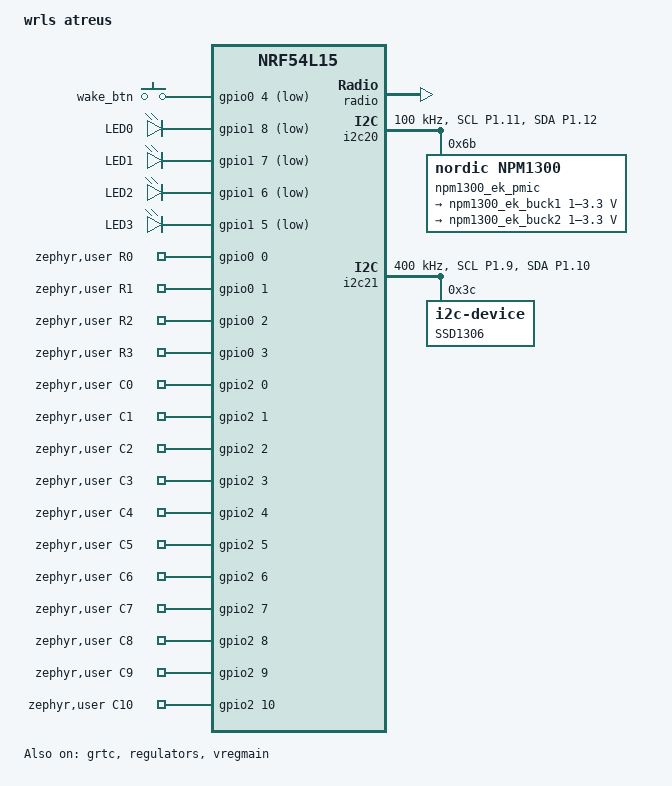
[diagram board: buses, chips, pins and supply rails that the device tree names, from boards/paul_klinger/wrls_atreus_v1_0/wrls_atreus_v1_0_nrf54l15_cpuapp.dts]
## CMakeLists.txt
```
# SPDX-License-Identifier: Apache-2.0

cmake_minimum_required(VERSION 3.20.0)
find_package(Zephyr REQUIRED HINTS $ENV{ZEPHYR_BASE})
project(kbd_firmware)

FILE(GLOB app_sources src/*.c src/*/*.c)
target_sources(app PRIVATE
  ${app_sources}
  )
```

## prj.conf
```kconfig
# Increased stack due to settings API usage
CONFIG_SYSTEM_WORKQUEUE_STACK_SIZE=2048

CONFIG_BT=y
CONFIG_NRF_SECURITY=y
CONFIG_LOG=n

# enable these for uart debugging
CONFIG_SERIAL=n
CONFIG_CONSOLE=n
CONFIG_UART_CONSOLE=n
CONFIG_PRINTK=n
# -----------------

CONFIG_GPIO=y
CONFIG_USE_SEGGER_RTT=n
CONFIG_RTT_CONSOLE=n
CONFIG_BT_SMP=y
CONFIG_BT_PERIPHERAL=y
CONFIG_BT_MAX_PAIRED=4
CONFIG_BT_ATT_TX_COUNT=5
CONFIG_BT_DIS=y
CONFIG_BT_BAS=y
CONFIG_BT_HIDS=y
CONFIG_BT_HIDS_MAX_CLIENT_COUNT=1
CONFIG_BT_HIDS_DEFAULT_PERM_RW_ENCRYPT=y
CONFIG_BT_GATT_UUID16_POOL_SIZE=40
CONFIG_BT_GATT_CHRC_POOL_SIZE=20

CONFIG_BT_CONN_CTX=y
CONFIG_BT_KEYS_OVERWRITE_OLDEST=y
CONFIG_BT_SMP_ALLOW_UNAUTH_OVERWRITE=y

CONFIG_BT_GATT_AUTO_SEC_REQ=n
CONFIG_BT_AUTO_PHY_UPDATE=n

CONFIG_BT_DEVICE_NAME="wrls atreus"
CONFIG_BT_DEVICE_APPEARANCE=961

CONFIG_SENSOR=y
CONFIG_NPM1300_CHARGER=y
CONFIG_LED=y
CONFIG_LED_NPM1300=y
CONFIG_REGULATOR=y
CONFIG_REGULATOR_NPM1300=y
CONFIG_GPIO_NPM1300=y

CONFIG_BT_SETTINGS=y
CONFIG_FLASH=y
CONFIG_FLASH_MAP=y
CONFIG_NVS=y
CONFIG_SETTINGS=y
CONFIG_SETTINGS_NVS=y
CONFIG_I2C=y

CONFIG_CBPRINTF_FP_SUPPORT=y
CONFIG_BT_PHY_UPDATE=y

CONFIG_BT_DIS_MANUF_NAME=n
CONFIG_BT_DIS_PNP=y
CONFIG_BT_DIS_PNP_VID_SRC=2
CONFIG_BT_DIS_PNP_VID=0x05AC
CONFIG_BT_DIS_PNP_PID=0x021E
CONFIG_BT_DIS_PNP_VER=0x0100

CONFIG_NRF_FUEL_GAUGE=y
CONFIG_NRF_FUEL_GAUGE_VARIANT_SECONDARY_CELL=y
```

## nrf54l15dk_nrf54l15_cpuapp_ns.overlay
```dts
// To get started, press Ctrl+Space to bring up the completion menu and view the available nodes.

// You can also use the buttons in the sidebar to perform actions on nodes.
// Actions currently available include:

// * Enabling / disabling the node
// * Adding the bus to a bus
// * Removing the node
// * Connecting ADC channels

// For more help, browse the DeviceTree documentation at https://docs.zephyrproject.org/latest/guides/dts/index.html
// You can also visit the nRF DeviceTree extension documentation at https://docs.nordicsemi.com/bundle/nrf-connect-vscode/page/guides/ncs_configure_app.html#devicetree-support-in-the-extension

&i2c21 {
    display: display@3C{
        compatible = "i2c-device";
        reg = <0x3C>;
        label = "SSD1306";
    };

    status = "okay";
    clock-frequency = <I2C_BITRATE_STANDARD>;
    pinctrl-0 = <&i2c21_default>;
    pinctrl-names = "default";
    zephyr,concat-buf-size = <0x2048>;
    zephyr,flash-buf-max-size = <0x2048>;
    compatible = "nordic,nrf-twim";
};
&pinctrl {
    i2c21_default: i2c21_default {

        group2 {
            psels = <NRF_PSEL(TWIM_SCL, 1, 7)>, <NRF_PSEL(TWIM_SDA, 1, 9)>;
            bias-pull-up;
        };
    };
};
```

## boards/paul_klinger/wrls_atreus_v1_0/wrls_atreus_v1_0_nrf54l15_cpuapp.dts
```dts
/dts-v1/;
#include <nordic/nrf54l15_cpuapp.dtsi>
#include "wrls_atreus_v1_0-pinctrl.dtsi"

#include <dt-bindings/regulator/npm1300.h>
#include <zephyr/dt-bindings/input/input-event-codes.h>


/ {
	model = "wrls atreus";
	compatible = "paul_klinger,wrls-atreus-v1-0-cpuapp";

	chosen {
		zephyr,code-partition = &slot0_partition;
		zephyr,sram = &cpuapp_sram;
		zephyr,flash = &cpuapp_rram;
		zephyr,console = &uart22;
	};

	buttons {
		compatible = "gpio-keys";
		wakebtn: wake_btn {
			gpios = <&gpio0 4 (GPIO_ACTIVE_LOW | GPIO_PULL_UP)>;
			label = "wake_btn";
		};
	};

	leds {
		compatible = "gpio-leds";
		led0: led0 {
			gpios = <&gpio1 8 GPIO_ACTIVE_LOW>;
			label = "LED0";
		};

		led1: led1 {
			gpios = <&gpio1 7 GPIO_ACTIVE_LOW>;
			label = "LED1";
		};

		led2: led2 {
			gpios = <&gpio1 6 GPIO_ACTIVE_LOW>;
			label = "LED2";
		};

		led3: led3 {
			gpios = <&gpio1 5 GPIO_ACTIVE_LOW>;
			label = "LED3";
		};
	};

	zephyr,user {
		R0-gpios = <&gpio0 0 0>;
		R1-gpios = <&gpio0 1 0>;
		R2-gpios = <&gpio0 2 0>;
		R3-gpios = <&gpio0 3 0>;
		C0-gpios = <&gpio2 0 0>;
		C1-gpios = <&gpio2 1 0>;
		C2-gpios = <&gpio2 2 0>;
		C3-gpios = <&gpio2 3 0>;
		C4-gpios = <&gpio2 4 0>;
		C5-gpios = <&gpio2 5 0>;
		C6-gpios = <&gpio2 6 0>;
		C7-gpios = <&gpio2 7 0>;
		C8-gpios = <&gpio2 8 0>;
		C9-gpios = <&gpio2 9 0>;
		C10-gpios = <&gpio2 10 0>;
	};
};

&cpuapp_sram {
	status = "okay";
};

&grtc {
	owned-channels = <0 1 2 3 4 5 6 7 8 9 10 11>;
	/* Channels 7-11 reserved for Zero Latency IRQs, 3-4 for FLPR */
	child-owned-channels = <3 4 7 8 9 10 11>;
	status = "okay";
};

&cpuapp_rram {
	partitions {
		compatible = "fixed-partitions";
		#address-cells = <1>;
		#size-cells = <1>;
		boot_partition: partition@0 {
			label = "mcuboot";
			reg = <0x0 DT_SIZE_K(64)>;
		};
		slot0_partition: partition@10000 {
			label = "image-0";
			reg = <0x10000 DT_SIZE_K(324)>;
		};
		slot0_ns_partition: partition@61000 {
			label = "image-0-nonsecure";
			reg = <0x61000 DT_SIZE_K(324)>;
		};
		slot1_partition: partition@b2000 {
			label = "image-1";
			reg = <0xb2000 DT_SIZE_K(324)>;
		};
		slot1_ns_partition: partition@103000 {
			label = "image-1-nonsecure";
			reg = <0x103000 DT_SIZE_K(324)>;
		};
		/* 32k from 0x154000 to 0x15bfff reserved for TF-M partitions */
		storage_partition: partition@15c000 {
			label = "storage";
			reg = <0x15c000 DT_SIZE_K(36)>;
		};
	};
};

&regulators {
	status = "okay";
};

&vregmain {
	status = "okay";
	regulator-initial-mode = <NRF5X_REG_MODE_DCDC>;
};

&radio {
	status = "okay";
};

&gpio1 {
	status = "okay";
};

&gpio2 {
	status = "okay";
};

&i2c20 {
	status = "okay";
	pinctrl-0 = <&i2c20_default>;
	pinctrl-names = "default";
	clock-frequency = <I2C_BITRATE_STANDARD>;
	npm1300_ek_pmic: pmic@6b {
		compatible = "nordic,npm1300";
		reg = <0x6b>;


		ship-to-active-time-ms = <32>;


		// long-press-reset = "one_button";


		npm1300_ek_gpio: gpio-controller {
			compatible = "nordic,npm1300-gpio";
			gpio-controller;
			#gpio-cells = <2>;
			ngpios = <5>;
		};

		npm1300_ek_regulators: regulators {
			compatible = "nordic,npm1300-regulator";


			npm1300_ek_buck1: BUCK1 {
				regulator-min-microvolt = <1000000>;
				regulator-max-microvolt = <3300000>;

				retention-microvolt = <1000000>;
			};



			npm1300_ek_buck2: BUCK2 {
				regulator-min-microvolt = <1000000>;
				regulator-max-microvolt = <3300000>;
				regulator-init-microvolt = <3300000>;
				retention-microvolt = <1000000>;
			};



			npm1300_ek_ldo1: LDO1 {
				regulator-initial-mode = <NPM1300_LDSW_MODE_LDSW>;

			};

		};


		npm1300_ek_charger: charger {
			compatible = "nordic,npm1300-charger";
			term-microvolt = <4200000>;
			term-warm-microvolt = <4200000>;
			// term-current-percent = <10>;
			current-microamp = <250000>;
			// trickle-microvolt = <2500000>;
			dischg-limit-microamp = <200000>;
			vbus-limit-microamp = <500000>;
			thermistor-ohms = <0>;
			thermistor-beta = <3380>;

			// disable-recharge;
			charging-enable;

		};


		npm1300_ek_leds: leds {
			compatible = "nordic,npm1300-led";
			nordic,led0-mode = "charging";
			nordic,led1-mode = "host";
			nordic,led2-mode = "host";
			status = "okay";
		};

	};
};

&pinctrl {
	i2c20_default: i2c20_default {

		group2 {
			psels = <NRF_PSEL(TWIM_SCL, 1, 11)>, <NRF_PSEL(TWIM_SDA, 1, 12)>;
			bias-pull-up;
		};
	};

	i2c21_default: i2c21_default {

		group2 {
			psels = <NRF_PSEL(TWIM_SCL, 1, 9)>, <NRF_PSEL(TWIM_SDA, 1, 10)>;
			bias-pull-up;
		};
	};

	uart22_default: uart22_default {
		group1 {
			psels = <NRF_PSEL(UART_RX, 1, 3)>, <NRF_PSEL(UART_TX, 1, 4)>;
		};
	};
};

&cpuflpr_vpr {
	status = "disabled";
};

&vregmain {
	status = "okay";
};

&clock {
	status = "okay";
};

&adc {
	status = "disabled";
};

&gpio0 {
	status = "okay";
};

&i2c21 {
	display: display@3C {
		compatible = "i2c-device";
		reg = <0x3C>;
		label = "SSD1306";
	};

	status = "okay";
	clock-frequency = <I2C_BITRATE_FAST>;
	pinctrl-0 = <&i2c21_default>;
	pinctrl-names = "default";
	zephyr,concat-buf-size = <0x2048>;
	zephyr,flash-buf-max-size = <0x2048>;
	compatible = "nordic,nrf-twim";
};
&gpiote30 {
	status = "okay";
};

&gpiote20 {
	status = "okay";
};

&uart22 {
	compatible = "nordic,nrf-uarte";
	status = "disabled";
	current-speed = <115200>;
	pinctrl-0 = <&uart22_default>;
	pinctrl-names = "default";
};
```

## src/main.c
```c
#include <errno.h>
#include <stddef.h>
#include <stdio.h>
#include <string.h>
#include <zephyr/bluetooth/bluetooth.h>
#include <zephyr/bluetooth/conn.h>
#include <zephyr/bluetooth/gatt.h>
#include <zephyr/bluetooth/hci.h>
#include <zephyr/bluetooth/uuid.h>
#include <zephyr/drivers/gpio.h>
#include <zephyr/drivers/i2c.h>
#include <zephyr/drivers/regulator.h>
#include <zephyr/drivers/sensor/npm1300_charger.h>
#include <zephyr/drivers/uart.h>
#include <zephyr/kernel.h>
#include <zephyr/settings/settings.h>
#include <zephyr/sys/byteorder.h>
#include <zephyr/sys/printk.h>
#include <zephyr/types.h>

#include "bluetooth.h"
#include "config.h"
#include "fuel_gauge/fuel_gauge.h"
#include "key_layout.h"
#include "key_matrix.h"
#include "leds.h"
#include "nvs.h"
#include "pmic.h"
#include "ui.h"

void i2c_scanner(const struct device *bus) {
  uint8_t error = 0u;
  uint8_t dst;
  uint8_t i2c_dev_cnt = 0;
  struct i2c_msg msgs[1];
  msgs[0].buf = &dst;
  msgs[0].len = 1U;
  msgs[0].flags = I2C_MSG_WRITE | I2C_MSG_STOP;

  /* Use the full range of I2C address for display purpose */
  for (uint16_t x = 0; x <= 0x7f; x++) {
    /* New line every 0x10 address */
    if (x % 0x10 == 0) {
      printk("|\n0x%02x| ", x);
    }
    /* Range the test with the start and stop value configured in the
     * kconfig */
    if (x >= 0 && x <= 0x7f) {
      /* Send the address to read from */
      error = i2c_transfer(bus, &msgs[0], 1, x);
      /* I2C device found on current address */
      if (error == 0) {
        printk("0x%02x ", x);
        i2c_dev_cnt++;
      } else {
        printk(" --  ");
      }
    } else {
      /* Scan value out of range, not scanned */
      printk("     ");
    }
  }
  printk("|\n");
  printk("\nI2C device(s) found on the bus: %d\nScanning done.\n\n",
         i2c_dev_cnt);
  printk(
      "Find the registered I2C address on: "
      "https://i2cdevices.org/addresses\n\n");
}

int main(void) {
  int ret;
  printk("Starting wrls atreus\n");
  k_msleep(50);
  init_leds();

  init_ui();
  ui_send_startup();

  nvs_init();

  int err;
  err = init_bluetooth();
  if (err) {
    printk("Bluetooth init failed (err %d)\n", err);
    return 0;
  }
  init_pmic();

  init_fuel_gauge();

  printk("Init key matrix\n");
  init_key_matrix();
  uint32_t last_active_time = k_uptime_seconds();
  uint32_t last_no_pressed_time = last_active_time;

  uint32_t last_bas_sent = k_uptime_seconds();
  send_bas_soc(battery_state.soc);

  while (1) {
    uint32_t seconds_since_active = k_uptime_seconds() - last_active_time;
    uint32_t seconds_since_no_pressed =
        k_uptime_seconds() - last_no_pressed_time;
    if ((seconds_since_active > DEEP_SLEEP_TIMEOUT_S) ||
        ((seconds_since_active > DEEP_SLEEP_ADVERTISING_TIMEOUT_S) &&
         ble_is_advertising()) ||
        (seconds_since_no_pressed > DEEP_SLEEP_NO_PRESSED_TIMEOUT_S)) {
      printk("No activity for %ds, going to deep sleep\n",
             seconds_since_active);
      ui_send_wake_and_key((struct key_coord){1, 6});  // S
    }

    read_key_matrix();

    if (!eq_pressed_keys(last_pressed_keys, current_pressed_keys)) {
      last_active_time = k_uptime_seconds();

      if (current_pressed_keys.wake_pressed) {
        if (current_pressed_keys.n_pressed > 0) {
          ui_send_wake_and_key(current_pressed_keys.keys[0]);
        } else if (!last_pressed_keys.wake_pressed) {
          ui_send_wake();
        }
      } else {
        // applications take exclusive control of the keys
        // so only send them to the host if they are not running
        if (application_running) {
          // send empty to clear any previous keys
          send_encoded_keys((struct encoded_keys){0});  // send empty keys
        } else {
          struct encoded_keys encoded_keys = get_encoded_keys();
          send_encoded_keys(encoded_keys);
        }
      }
      if (ui_active() && current_pressed_keys.n_pressed > 0) {
        // TODO: doesn't really make sense, maybe just get rid of the key
        // message?
        ui_send_key(current_pressed_keys.keys[0]);
      }
    }

    if (current_pressed_keys.n_pressed == 0 &&
        !current_pressed_keys.wake_pressed) {
      last_no_pressed_time = k_uptime_seconds();
    }

    if (k_uptime_seconds() - last_bas_sent > BAS_SOC_INTERVAL_S) {
      last_bas_sent = k_uptime_seconds();
      send_bas_soc(battery_state.soc);
      printk("Sent battery SOC %d", (uint8_t)battery_state.soc);
    }

    if (current_pressed_keys.n_pressed > 0 ||
        current_pressed_keys.wake_pressed) {
      // if keys are pressed always sleep for 50ms
      // (we can't use the level interrupt here)
      // TODO: could switch to edge interrupt in this case??
      k_msleep(50);
    } else {
      ret = wait_for_key(2000);
    }
  }

  return 0;
}
```

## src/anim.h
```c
#ifndef ANIM_H
#define ANIM_H

#include <stdint.h>
#include <stdbool.h>

struct animation {
    const uint8_t (*frames)[8][128] ; // Pointer to an array of frames, each frame is 8x128 pixels
    const uint8_t *frame_counts;
    uint32_t start_idx, end_idx, init_idx;
    int8_t frame_step;
    bool loop;
};

#endif // ANIM_H
```

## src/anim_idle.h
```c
#ifndef IDLE_H
#define IDLE_H
#include "anim.h"

#define IDLE_N_FRAMES 38
extern struct animation anim_idle;

#endif // IDLE_H
```

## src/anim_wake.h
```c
#ifndef WAKE_H
#define WAKE_H
#include "anim.h"

#define WAKE_N_FRAMES 26
extern struct animation anim_wake;

#endif // WAKE_H
```

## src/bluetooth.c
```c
#include "bluetooth.h"

#include <assert.h>
#include <bluetooth/services/hids.h>
#include <errno.h>
#include <soc.h>
#include <stddef.h>
#include <string.h>
#include <zephyr/bluetooth/bluetooth.h>
#include <zephyr/bluetooth/conn.h>
#include <zephyr/bluetooth/gatt.h>
#include <zephyr/bluetooth/hci.h>
#include <zephyr/bluetooth/services/bas.h>
#include <zephyr/bluetooth/services/dis.h>
#include <zephyr/bluetooth/uuid.h>
#include <zephyr/drivers/gpio.h>
#include <zephyr/kernel.h>
#include <zephyr/settings/settings.h>
#include <zephyr/spinlock.h>
#include <zephyr/sys/byteorder.h>
#include <zephyr/sys/printk.h>
#include <zephyr/types.h>

#include "config.h"
#include "key_layout.h"
#include "leds.h"
#include "ui.h"

#define DEVICE_NAME CONFIG_BT_DEVICE_NAME
#define DEVICE_NAME_LEN (sizeof(DEVICE_NAME) - 1)

#define BASE_USB_HID_SPEC_VERSION 0x0101

#define OUTPUT_REPORT_MAX_LEN 1
#define OUTPUT_REPORT_BIT_MASK_CAPS_LOCK 0x02
#define INPUT_REP_KEYS_REF_ID 0
#define OUTPUT_REP_KEYS_REF_ID 0
#define MODIFIER_KEY_POS 0
#define SHIFT_KEY_CODE 0x02
#define SCAN_CODE_POS 2
#define KEYS_MAX_LEN (INPUT_REPORT_KEYS_MAX_LEN - SCAN_CODE_POS)

/* HIDs queue elements. */
#define HIDS_QUEUE_SIZE 10

/* ********************* */
/* Buttons configuration */

/* Note: The configuration below is the same as BOOT mode configuration
 * This simplifies the code as the BOOT mode is the same as REPORT mode.
 * Changing this configuration would require separate implementation of
 * BOOT mode report generation.
 */
#define KEY_CTRL_CODE_MIN 224 /* Control key codes - required 8 of them */
#define KEY_CTRL_CODE_MAX 231 /* Control key codes - required 8 of them */
#define KEY_CODE_MIN 0        /* Normal key codes */
#define KEY_CODE_MAX 101      /* Normal key codes */
#define KEY_PRESS_MAX                     \
  6 /* Maximum number of non-control keys \
     * pressed simultaneously             \
     */

/* Number of bytes in key report
 *
 * 1B - control keys
 * 1B - reserved
 * rest - non-control keys
 */
#define INPUT_REPORT_KEYS_MAX_LEN (1 + 1 + KEY_PRESS_MAX)

/* Current report map construction requires exactly 8 buttons */
BUILD_ASSERT((KEY_CTRL_CODE_MAX - KEY_CTRL_CODE_MIN) + 1 == 8);

/* OUT report internal indexes.
 *
 * This is a position in internal report table and is not related to
 * report ID.
 */
enum { OUTPUT_REP_KEYS_IDX = 0 };

/* INPUT report internal indexes.
 *
 * This is a position in internal report table and is not related to
 * report ID.
 */
enum { INPUT_REP_KEYS_IDX = 0 };

/* HIDS instance. */
BT_HIDS_DEF(hids_obj, OUTPUT_REPORT_MAX_LEN, INPUT_REPORT_KEYS_MAX_LEN);

static volatile bool is_adv;
static volatile bool waiting_for_passkey_confirmation = false;

static const struct bt_data ad[] = {
    BT_DATA_BYTES(BT_DATA_GAP_APPEARANCE,
                  (CONFIG_BT_DEVICE_APPEARANCE >> 0) & 0xff,
                  (CONFIG_BT_DEVICE_APPEARANCE >> 8) & 0xff),
    BT_DATA_BYTES(BT_DATA_FLAGS, (BT_LE_AD_GENERAL | BT_LE_AD_NO_BREDR)),
    BT_DATA_BYTES(BT_DATA_UUID16_ALL, BT_UUID_16_ENCODE(BT_UUID_HIDS_VAL),
                  BT_UUID_16_ENCODE(BT_UUID_BAS_VAL)),
};

static const struct bt_data sd[] = {
    BT_DATA(BT_DATA_NAME_COMPLETE, DEVICE_NAME, DEVICE_NAME_LEN),
};

static struct bt_conn *current_conn = NULL;

static struct k_work adv_work;

struct addr get_current_addr() {
  struct addr addr;
  if (current_conn) {
    bt_addr_le_to_str(bt_conn_get_dst(current_conn), addr.addr,
                      sizeof(addr.addr));
  }
  return addr;
}

static void advertising_start(void) { k_work_submit(&adv_work); }

static void adv_work_handler(struct k_work *work) {
  int err;
  const struct bt_le_adv_param *adv_param =
      BT_LE_ADV_PARAM(BT_LE_ADV_OPT_CONN, BT_GAP_ADV_FAST_INT_MIN_2,
                      BT_GAP_ADV_FAST_INT_MAX_2, NULL);

  err = bt_le_adv_start(adv_param, ad, ARRAY_SIZE(ad), sd, ARRAY_SIZE(sd));
  if (err) {
    if (err == -EALREADY) {
      printk("Advertising continued\n");
    } else {
      printk("Advertising failed to start (err %d)\n", err);
    }

    return;
  }

  is_adv = true;
  led_start_advertising_anim();
  printk("Advertising successfully started\n");
}

static void connected(struct bt_conn *conn, uint8_t err) {
  char addr[BT_ADDR_LE_STR_LEN];

  bt_addr_le_to_str(bt_conn_get_dst(conn), addr, sizeof(addr));

  if (err) {
    printk("Failed to connect to %s 0x%02x %s\n", addr, err,
           bt_hci_err_to_str(err));
    return;
  }
  current_conn = bt_conn_ref(conn);

  printk("Connected %s\n", addr);

  err = bt_hids_connected(&hids_obj, conn);

  if (err) {
    printk("Failed to notify HID service about connection\n");
    return;
  }

  is_adv = false;
  led_stop_anim();
  int ret = bt_conn_set_security(conn, BT_SECURITY_L4);
  if (ret) {
    printk("Failed to set security to L4 (%d), trying L3\n", ret);
    ret = bt_conn_set_security(conn, BT_SECURITY_L3);
    if (ret) {
      printk("Failed to set security to L3: %d\n", ret);
    }
  }

  init_key_layout();
}

static void disconnected(struct bt_conn *conn, uint8_t reason) {
  char addr[BT_ADDR_LE_STR_LEN];

  bt_addr_le_to_str(bt_conn_get_dst(conn), addr, sizeof(addr));

  printk("Disconnected from %s, reason 0x%02x %s\n", addr, reason,
         bt_hci_err_to_str(reason));
  int err = bt_hids_disconnected(&hids_obj, conn);

  if (err) {
    printk("Failed to notify HID service about disconnection\n");
  }
  bt_conn_unref(current_conn);
  current_conn = NULL;
  advertising_start();
}

static void security_changed(struct bt_conn *conn, bt_security_t level,
                             enum bt_security_err err) {
  char addr[BT_ADDR_LE_STR_LEN];

  bt_addr_le_to_str(bt_conn_get_dst(conn), addr, sizeof(addr));

  if (!err) {
    printk("Security changed: %s level %u\n", addr, level);
  } else {
    printk("Security failed: %s level %u err %d %s\n", addr, level, err,
           bt_security_err_to_str(err));
  }
}

BT_CONN_CB_DEFINE(conn_callbacks) = {
    .connected = connected,
    .disconnected = disconnected,
    .security_changed = security_changed,
};

static void auth_passkey_display(struct bt_conn *conn, unsigned int passkey) {
  if (conn != current_conn) {
    if (current_conn) {
      bt_conn_unref(current_conn);
    }
    current_conn = bt_conn_ref(conn);
  }
  ui_send_display_passkey(passkey);
}

static void auth_passkey_confirm(struct bt_conn *conn, unsigned int passkey) {
  if (conn != current_conn) {
    if (current_conn) {
      bt_conn_unref(current_conn);
    }
    current_conn = bt_conn_ref(conn);
  }
  waiting_for_passkey_confirmation = true;
  ui_send_confirm_passkey(passkey);
}

static void auth_cancel(struct bt_conn *conn) {
  char addr[BT_ADDR_LE_STR_LEN];

  bt_addr_le_to_str(bt_conn_get_dst(conn), addr, sizeof(addr));

  printk("Pairing cancelled: %s\n", addr);
  if (current_conn) {
    bt_conn_unref(current_conn);
    current_conn = NULL;
  }
}

static void pairing_complete(struct bt_conn *conn, bool bonded) {
  char addr[BT_ADDR_LE_STR_LEN];

  bt_addr_le_to_str(bt_conn_get_dst(conn), addr, sizeof(addr));

  printk("Pairing completed: %s, bonded: %d\n", addr, bonded);
}

static void pairing_failed(struct bt_conn *conn, enum bt_security_err reason) {
  char addr[BT_ADDR_LE_STR_LEN];

  bt_addr_le_to_str(bt_conn_get_dst(conn), addr, sizeof(addr));

  printk("Pairing failed conn: %s, reason %d %s\n", addr, reason,
         bt_security_err_to_str(reason));
}

static struct bt_conn_auth_cb conn_auth_callbacks = {
    .passkey_display = auth_passkey_display,
    .passkey_confirm = auth_passkey_confirm,
    .cancel = auth_cancel,
};

static struct bt_conn_auth_info_cb conn_auth_info_callbacks = {
    .pairing_complete = pairing_complete, .pairing_failed = pairing_failed};

static void num_comp_reply(bool accept) {
  char addr[BT_ADDR_LE_STR_LEN];

  bt_addr_le_to_str(bt_conn_get_dst(current_conn), addr, sizeof(addr));
  printk("num_comp_reply(%d), conn: %s\n", accept, addr);
  if (accept) {
    bt_conn_auth_passkey_confirm(current_conn);
    printk("Numeric Match, conn %p\n", current_conn);
  } else {
    bt_conn_auth_cancel(current_conn);
    printk("Numeric Reject, conn %p\n", current_conn);
    bt_conn_unref(current_conn);
  }
}

void confirm_passkey(void) {
  num_comp_reply(true);
  waiting_for_passkey_confirmation = false;
}

void reject_passkey(void) {
  num_comp_reply(false);
  waiting_for_passkey_confirmation = false;
}

bool ble_is_advertising() { return is_adv; }

bool ble_is_connected() { return current_conn != NULL; }

bool is_waiting_for_passkey_confirmation() {
  return waiting_for_passkey_confirmation;
}

static void init_hid(void) {
  int err;
  struct bt_hids_init_param hids_init_obj = {0};
  struct bt_hids_inp_rep *hids_inp_rep;
  struct bt_hids_outp_feat_rep *hids_outp_rep;

  static const uint8_t report_map[] = {
      0x05, 0x01, /* Usage Page (Generic Desktop) */
      0x09, 0x06, /* Usage (Keyboard) */
      0xA1, 0x01, /* Collection (Application) */

  /* Keys */
#if INPUT_REP_KEYS_REF_ID
      0x85, INPUT_REP_KEYS_REF_ID,
#endif
      0x05, 0x07, /* Usage Page (Key Codes) */
      0x19, 0xe0, /* Usage Minimum (224) */
      0x29, 0xe7, /* Usage Maximum (231) */
      0x15, 0x00, /* Logical Minimum (0) */
      0x25, 0x01, /* Logical Maximum (1) */
      0x75, 0x01, /* Report Size (1) */
      0x95, 0x08, /* Report Count (8) */
      0x81, 0x02, /* Input (Data, Variable, Absolute) */

      0x95, 0x01, /* Report Count (1) */
      0x75, 0x08, /* Report Size (8) */
      0x81, 0x01, /* Input (Constant) reserved byte(1) */

      0x95, 0x06, /* Report Count (6) */
      0x75, 0x08, /* Report Size (8) */
      0x15, 0x00, /* Logical Minimum (0) */
      0x25, 0x65, /* Logical Maximum (101) */
      0x05, 0x07, /* Usage Page (Key codes) */
      0x19, 0x00, /* Usage Minimum (0) */
      0x29, 0x65, /* Usage Maximum (101) */
      0x81, 0x00, /* Input (Data, Array) Key array(6 bytes) */

  /* LED */
#if OUTPUT_REP_KEYS_REF_ID
      0x85, OUTPUT_REP_KEYS_REF_ID,
#endif
      0x95, 0x05, /* Report Count (5) */
      0x75, 0x01, /* Report Size (1) */
      0x05, 0x08, /* Usage Page (Page# for LEDs) */
      0x19, 0x01, /* Usage Minimum (1) */
      0x29, 0x05, /* Usage Maximum (5) */
      0x91, 0x02, /* Output (Data, Variable, Absolute), */
                  /* Led report */
      0x95, 0x01, /* Report Count (1) */
      0x75, 0x03, /* Report Size (3) */
      0x91, 0x01, /* Output (Data, Variable, Absolute), */
                  /* Led report padding */

      0xC0 /* End Collection (Application) */
  };

  hids_init_obj.rep_map.data = report_map;
  hids_init_obj.rep_map.size = sizeof(report_map);

  hids_init_obj.info.bcd_hid = BASE_USB_HID_SPEC_VERSION;
  hids_init_obj.info.b_country_code = 0x00;
  hids_init_obj.info.flags =
      (BT_HIDS_REMOTE_WAKE | BT_HIDS_NORMALLY_CONNECTABLE);

  hids_inp_rep = &hids_init_obj.inp_rep_group_init.reports[INPUT_REP_KEYS_IDX];
  hids_inp_rep->size = INPUT_REPORT_KEYS_MAX_LEN;
  hids_inp_rep->id = INPUT_REP_KEYS_REF_ID;
  hids_init_obj.inp_rep_group_init.cnt++;

  hids_outp_rep =
      &hids_init_obj.outp_rep_group_init.reports[OUTPUT_REP_KEYS_IDX];
  hids_outp_rep->size = OUTPUT_REPORT_MAX_LEN;
  hids_outp_rep->id = OUTPUT_REP_KEYS_REF_ID;
  hids_init_obj.outp_rep_group_init.cnt++;

  hids_init_obj.is_kb = true;

  err = bt_hids_init(&hids_obj, &hids_init_obj);
  __ASSERT(err == 0, "HIDS initialization failed\n");
}

int init_bluetooth(void) {
  waiting_for_passkey_confirmation = false;
  int err;

  err = bt_conn_auth_cb_register(&conn_auth_callbacks);
  if (err) {
    printk("Failed to register authorization callbacks.\n");
    return err;
  }

  err = bt_conn_auth_info_cb_register(&conn_auth_info_callbacks);
  if (err) {
    printk("Failed to register authorization info callbacks.\n");
    return err;
  }

  init_hid();

  err = bt_enable(NULL);
  if (err) {
    printk("Bluetooth init failed (err %d)\n", err);
    return err;
  }

  printk("Bluetooth initialized\n");

  if (IS_ENABLED(CONFIG_SETTINGS)) {
    settings_load();
  }

  k_work_init(&adv_work, adv_work_handler);
  advertising_start();
  return 0;
}

void send_encoded_keys(struct encoded_keys keys) {
  /* HID Report:
   * Byte 0: modifier mask
   * Byte 1: reserved (must be 0)
   * Byte 2-7: keys (up to 6 keys)
   */
  uint8_t report[8] = {0};

  report[0] = keys.modifier_mask;
  report[1] = 0;  // reserved byte, always 0

  for (int i = 0; i < MAX_N_ENCODED_KEYS; i++) {
    report[i + 2] = keys.keys[i];
  }
  int ret = bt_hids_inp_rep_send(&hids_obj, current_conn, INPUT_REP_KEYS_IDX,
                                 report, sizeof(report), NULL);
  printk("HID report sent, ret: %d\n", ret);
}

void send_bas_soc(float soc) { bt_bas_set_battery_level((uint8_t)soc); }
```

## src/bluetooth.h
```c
#ifndef BLUETOOTH_H
#define BLUETOOTH_H

#include <stdbool.h>
#include <zephyr/bluetooth/bluetooth.h>

#include "config.h"

bool ble_is_advertising();
bool ble_is_connected();

bool is_waiting_for_passkey_confirmation();
void confirm_passkey();
void reject_passkey();

int init_bluetooth();
void send_encoded_keys(struct encoded_keys keys);

struct addr {
  char addr[BT_ADDR_LE_STR_LEN];
};

struct addr get_current_addr();

void send_bas_soc(float soc);

#endif  // BLUETOOTH_H
```

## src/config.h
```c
#ifndef CONFIG_H
#define CONFIG_H

#include <stdbool.h>
#include <stdint.h>

#define MAX_N_ENCODED_KEYS 6
#define MAX_N_PRESSED_KEYS 6
// go to sleep if no key presses for this time
#define DEEP_SLEEP_TIMEOUT_S 60 * 30
// go to sleep if no key presses and keyboard is advertising
#define DEEP_SLEEP_ADVERTISING_TIMEOUT_S 60 * 5
// go to sleep if constant key presses for this time
// (to prevent battery drain if something is lying on the keyboard)
#define DEEP_SLEEP_NO_PRESSED_TIMEOUT_S 60 * 5

// send state of charge once per minute
#define BAS_SOC_INTERVAL_S 60

struct key_coord {
  uint8_t row;
  uint8_t col;
};

inline bool keq(struct key_coord a, struct key_coord b) {
  return a.row == b.row && a.col == b.col;
}

// physical keys pressed
struct pressed_keys {
  bool wake_pressed;
  struct key_coord keys[MAX_N_PRESSED_KEYS];
  uint8_t n_pressed;
};

// keys encoded for USB HID report
struct encoded_keys {
  uint8_t modifier_mask;
  uint8_t keys[MAX_N_ENCODED_KEYS];
};

#endif  // CONFIG_H
```

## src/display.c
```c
#include "display.h"

#include <errno.h>
#include <math.h>
#include <stddef.h>
#include <stdlib.h>
#include <string.h>
#include <zephyr/drivers/gpio.h>
#include <zephyr/drivers/i2c.h>
#include <zephyr/drivers/regulator.h>
#include <zephyr/kernel.h>
#include <zephyr/sys/byteorder.h>
#include <zephyr/sys/printk.h>
#include <zephyr/types.h>

const char FONT[][6] = {
    {0x00, 0x00, 0x00, 0x00, 0x00, 0x00},  // sp
    {0x00, 0x00, 0x00, 0x2f, 0x00, 0x00},  // !
    {0x00, 0x00, 0x07, 0x00, 0x07, 0x00},  // "
    {0x00, 0x14, 0x7f, 0x14, 0x7f, 0x14},  // #
    {0x00, 0x24, 0x2a, 0x7f, 0x2a, 0x12},  // $
    {0x00, 0x62, 0x64, 0x08, 0x13, 0x23},  // %
    {0x00, 0x36, 0x49, 0x55, 0x22, 0x50},  // &
    {0x00, 0x00, 0x05, 0x03, 0x00, 0x00},  // '
    {0x00, 0x00, 0x1c, 0x22, 0x41, 0x00},  // (
    {0x00, 0x00, 0x41, 0x22, 0x1c, 0x00},  // )
    {0x00, 0x14, 0x08, 0x3E, 0x08, 0x14},  // *
    {0x00, 0x08, 0x08, 0x3E, 0x08, 0x08},  // +
    {0x00, 0x00, 0x00, 0xA0, 0x60, 0x00},  // ,
    {0x00, 0x08, 0x08, 0x08, 0x08, 0x08},  // -
    {0x00, 0x00, 0x60, 0x60, 0x00, 0x00},  // .
    {0x00, 0x20, 0x10, 0x08, 0x04, 0x02},  // /
    {0x00, 0x3E, 0x51, 0x49, 0x45, 0x3E},  // 0
    {0x00, 0x00, 0x42, 0x7F, 0x40, 0x00},  // 1
    {0x00, 0x42, 0x61, 0x51, 0x49, 0x46},  // 2
    {0x00, 0x21, 0x41, 0x45, 0x4B, 0x31},  // 3
    {0x00, 0x18, 0x14, 0x12, 0x7F, 0x10},  // 4
    {0x00, 0x27, 0x45, 0x45, 0x45, 0x39},  // 5
    {0x00, 0x3C, 0x4A, 0x49, 0x49, 0x30},  // 6
    {0x00, 0x01, 0x71, 0x09, 0x05, 0x03},  // 7
    {0x00, 0x36, 0x49, 0x49, 0x49, 0x36},  // 8
    {0x00, 0x06, 0x49, 0x49, 0x29, 0x1E},  // 9
    {0x00, 0x00, 0x36, 0x36, 0x00, 0x00},  // :
    {0x00, 0x00, 0x56, 0x36, 0x00, 0x00},  // ;
    {0x00, 0x08, 0x14, 0x22, 0x41, 0x00},  // <
    {0x00, 0x14, 0x14, 0x14, 0x14, 0x14},  // =
    {0x00, 0x00, 0x41, 0x22, 0x14, 0x08},  // >
    {0x00, 0x02, 0x01, 0x51, 0x09, 0x06},  // ?
    {0x00, 0x32, 0x49, 0x59, 0x51, 0x3E},  // @
    {0x00, 0x7C, 0x12, 0x11, 0x12, 0x7C},  // A
    {0x00, 0x7F, 0x49, 0x49, 0x49, 0x36},  // B
    {0x00, 0x3E, 0x41, 0x41, 0x41, 0x22},  // C
    {0x00, 0x7F, 0x41, 0x41, 0x22, 0x1C},  // D
    {0x00, 0x7F, 0x49, 0x49, 0x49, 0x41},  // E
    {0x00, 0x7F, 0x09, 0x09, 0x09, 0x01},  // F
    {0x00, 0x3E, 0x41, 0x49, 0x49, 0x7A},  // G
    {0x00, 0x7F, 0x08, 0x08, 0x08, 0x7F},  // H
    {0x00, 0x00, 0x41, 0x7F, 0x41, 0x00},  // I
    {0x00, 0x20, 0x40, 0x41, 0x3F, 0x01},  // J
    {0x00, 0x7F, 0x08, 0x14, 0x22, 0x41},  // K
    {0x00, 0x7F, 0x40, 0x40, 0x40, 0x40},  // L
    {0x00, 0x7F, 0x02, 0x0C, 0x02, 0x7F},  // M
    {0x00, 0x7F, 0x04, 0x08, 0x10, 0x7F},  // N
    {0x00, 0x3E, 0x41, 0x41, 0x41, 0x3E},  // O
    {0x00, 0x7F, 0x09, 0x09, 0x09, 0x06},  // P
    {0x00, 0x3E, 0x41, 0x51, 0x21, 0x5E},  // Q
    {0x00, 0x7F, 0x09, 0x19, 0x29, 0x46},  // R
    {0x00, 0x46, 0x49, 0x49, 0x49, 0x31},  // S
    {0x00, 0x01, 0x01, 0x7F, 0x01, 0x01},  // T
    {0x00, 0x3F, 0x40, 0x40, 0x40, 0x3F},  // U
    {0x00, 0x1F, 0x20, 0x40, 0x20, 0x1F},  // V
    {0x00, 0x3F, 0x40, 0x38, 0x40, 0x3F},  // W
    {0x00, 0x63, 0x14, 0x08, 0x14, 0x63},  // X
    {0x00, 0x07, 0x08, 0x70, 0x08, 0x07},  // Y
    {0x00, 0x61, 0x51, 0x49, 0x45, 0x43},  // Z
    {0x00, 0x00, 0x7F, 0x41, 0x41, 0x00},  // [
    {0x00, 0x55, 0x2A, 0x55, 0x2A, 0x55},  // backslash
    {0x00, 0x00, 0x41, 0x41, 0x7F, 0x00},  // ]
    {0x00, 0x04, 0x02, 0x01, 0x02, 0x04},  // ^
    {0x00, 0x40, 0x40, 0x40, 0x40, 0x40},  // _
    {0x00, 0x00, 0x01, 0x02, 0x04, 0x00},  // '
    {0x00, 0x20, 0x54, 0x54, 0x54, 0x78},  // a
    {0x00, 0x7F, 0x48, 0x44, 0x44, 0x38},  // b
    {0x00, 0x38, 0x44, 0x44, 0x44, 0x20},  // c
    {0x00, 0x38, 0x44, 0x44, 0x48, 0x7F},  // d
    {0x00, 0x38, 0x54, 0x54, 0x54, 0x18},  // e
    {0x00, 0x08, 0x7E, 0x09, 0x01, 0x02},  // f
    {0x00, 0x18, 0xA4, 0xA4, 0xA4, 0x7C},  // g
    {0x00, 0x7F, 0x08, 0x04, 0x04, 0x78},  // h
    {0x00, 0x00, 0x44, 0x7D, 0x40, 0x00},  // i
    {0x00, 0x40, 0x80, 0x84, 0x7D, 0x00},  // j
    {0x00, 0x7F, 0x10, 0x28, 0x44, 0x00},  // k
    {0x00, 0x00, 0x41, 0x7F, 0x40, 0x00},  // l
    {0x00, 0x7C, 0x04, 0x18, 0x04, 0x78},  // m
    {0x00, 0x7C, 0x08, 0x04, 0x04, 0x78},  // n
    {0x00, 0x38, 0x44, 0x44, 0x44, 0x38},  // o
    {0x00, 0xFC, 0x24, 0x24, 0x24, 0x18},  // p
    {0x00, 0x18, 0x24, 0x24, 0x18, 0xFC},  // q
    {0x00, 0x7C, 0x08, 0x04, 0x04, 0x08},  // r
    {0x00, 0x48, 0x54, 0x54, 0x54, 0x20},  // s
    {0x00, 0x04, 0x3F, 0x44, 0x40, 0x20},  // t
    {0x00, 0x3C, 0x40, 0x40, 0x20, 0x7C},  // u
    {0x00, 0x1C, 0x20, 0x40, 0x20, 0x1C},  // v
    {0x00, 0x3C, 0x40, 0x30, 0x40, 0x3C},  // w
    {0x00, 0x44, 0x28, 0x10, 0x28, 0x44},  // x
    {0x00, 0x1C, 0xA0, 0xA0, 0xA0, 0x7C},  // y
    {0x00, 0x44, 0x64, 0x54, 0x4C, 0x44},  // z
    {0x00, 0x00, 0x08, 0x77, 0x41, 0x00},  // {
    {0x00, 0x00, 0x00, 0x63, 0x00, 0x00},  // ¦
    {0x00, 0x00, 0x41, 0x77, 0x08, 0x00},  // }
    {0x00, 0x08, 0x04, 0x08, 0x08, 0x04},  // ~
};

#define LCD_DISP_OFF 0xAE
#define LCD_DISP_ON 0xAF

const uint8_t init_sequence[] = {
    // Initialization Sequence
    LCD_DISP_OFF,  // Display OFF (sleep mode)
    0x20,
    0b00,  // Set Memory Addressing Mode
    // 00=Horizontal Addressing Mode; 01=Vertical Addressing Mode;
    // 10=Page Addressing Mode (RESET); 11=Invalid
    0xB0,  // Set Page Start Address for Page Addressing Mode, 0-7
    0xC0,  // Set COM Output Scan Direction
    0x00,  // --set low column address
    0x10,  // --set high column address
    0x40,  // --set start line address
    0x81,
    0xFF,  // Set contrast control register
    0xA0,  // Set Segment Re-map. A0=address mapped; A1=address 127 mapped.
    0xA6,  // Set display mode. A6=Normal; A7=Inverse
    0xA8,
    0x3F,  // Set multiplex ratio(1 to 64)
    0xA4,  // Output RAM to Display
    // 0xA4=Output follows RAM content; 0xA5,Output ignores RAM content
    0xD3,
    0x00,        // Set display offset. 00 = no offset
    0xD5,        // --set display clock divide ratio/oscillator frequency
    0b11110000,  // --set divide ratio
    0xD9,
    0x22,  // Set pre-charge period
    0xDA,
    0x12,  // Set com pins hardware configuration
    0xDB,  // --set vcomh
    0x20,  // 0x20,0.77xVcc
    0x8D,
    0x14,  // Set DC-DC enable
    LCD_DISP_ON,
};

#define I2C21_NODE DT_NODELABEL(display)
static const struct i2c_dt_spec dev_i2c = I2C_DT_SPEC_GET(I2C21_NODE);
static const struct device *disp_ldsw =
    DEVICE_DT_GET(DT_NODELABEL(npm1300_ek_ldo1));

static struct {
  uint8_t x;
  uint8_t y;
} cursorPosition;

uint8_t displayBuffer[DISPLAY_HEIGHT / 8][DISPLAY_WIDTH];

void init_i2c(void) {
  while (!device_is_ready(dev_i2c.bus)) {
    printk("I2C bus %s is not ready\n", dev_i2c.bus->name);
    k_sleep(K_MSEC(100));
  };
}

int lcd_command(const uint8_t *cmds, size_t len) {
  struct i2c_msg mode_msg;
  uint8_t is_command = 0x00;
  mode_msg.buf = &is_command;
  mode_msg.len = 1;
  mode_msg.flags = I2C_MSG_WRITE;

  struct i2c_msg data_msg;
  data_msg.buf = (uint8_t *)cmds;
  data_msg.len = len;
  data_msg.flags = I2C_MSG_WRITE | I2C_MSG_STOP;

  struct i2c_msg msgs[] = {mode_msg, data_msg};
  int ret = i2c_transfer(dev_i2c.bus, msgs, 2, dev_i2c.addr);
  if (ret != 0) {
    printk("Error %d: failed to write command to the display\n", ret);
  }
  return ret;
}

int lcd_data(const uint8_t *data, size_t len) {
  struct i2c_msg mode_msg;
  uint8_t is_data = 0x40;
  mode_msg.buf = &is_data;
  mode_msg.len = 1;
  mode_msg.flags = I2C_MSG_WRITE;

  struct i2c_msg data_msg;
  data_msg.buf = (uint8_t *)data;
  data_msg.len = len;
  data_msg.flags = I2C_MSG_WRITE | I2C_MSG_STOP;

  struct i2c_msg msgs[] = {mode_msg, data_msg};
  int ret = i2c_transfer(dev_i2c.bus, msgs, 2, dev_i2c.addr);
  if (ret != 0) {
    printk("Error %d: failed to write data to the display\n", ret);
  }
  return ret;
}

void lcd_goto_xpix_y(uint8_t x, uint8_t y) {
  cursorPosition.x = x;
  cursorPosition.y = y;
}

void lcd_gotoxy(uint8_t x, uint8_t y) {
  x = x * sizeof(FONT[0]);
  lcd_goto_xpix_y(x, y);
}

void lcd_send_goto_xpix_y(uint8_t x, uint8_t y) {
  cursorPosition.x = x;
  cursorPosition.y = y;
  uint8_t commandSequence[] = {0x22, y, 0x07, 0x21, x, 0x7f};
  lcd_command(commandSequence, sizeof(commandSequence));
}

void lcd_send_home_command() { lcd_send_goto_xpix_y(0, 0); }

void lcd_putc(char c) {
  // mapping char
  c -= ' ';
  for (uint8_t i = 0; i < sizeof(FONT[0]); i++) {
    // load bit-pattern from flash
    displayBuffer[cursorPosition.y][cursorPosition.x + i] = FONT[(uint8_t)c][i];
  }
  cursorPosition.x += sizeof(FONT[0]);
}

void lcd_puts(const char *s) {
  while (*s) {
    if (*s == '\n') {
      cursorPosition.x = 0;
      cursorPosition.y++;
      lcd_goto_xpix_y(cursorPosition.x, cursorPosition.y);
    } else {
      lcd_putc(*s);
    }
    s++;
  }
}

void lcd_putc_invert(char c) {
  // mapping char
  c -= ' ';
  for (uint8_t i = 0; i < sizeof(FONT[0]); i++) {
    // load bit-pattern from flash
    displayBuffer[cursorPosition.y][cursorPosition.x + i] =
        ~FONT[(uint8_t)c][i];
  }
  cursorPosition.x += sizeof(FONT[0]);
}

void lcd_puts_invert(const char *s) {
  while (*s) {
    if (*s == '\n') {
      cursorPosition.x = 0;
      cursorPosition.y++;
      lcd_goto_xpix_y(cursorPosition.x, cursorPosition.y);
    } else {
      lcd_putc_invert(*s);
    }
    s++;
  }
}

void lcd_clear_buffer() {
  for (uint8_t i = 0; i < DISPLAY_HEIGHT / 8; i++) {
    memset(displayBuffer[i], 0x00, sizeof(displayBuffer[i]));
  }
}

uint8_t lcd_check_buffer(uint8_t x, uint8_t y) {
  return displayBuffer[(y / (DISPLAY_HEIGHT / 8))][x] &
         (1 << (y % (DISPLAY_HEIGHT / 8)));
}

void lcd_display() {
  lcd_send_home_command();
  lcd_data(&displayBuffer[0][0], DISPLAY_WIDTH * DISPLAY_HEIGHT / 8);
}
void lcd_clrscr(void) {
  lcd_clear_buffer();
  lcd_display();
  lcd_send_home_command();
}

bool display_enabled(void) { return regulator_is_enabled(disp_ldsw); }

void enable_display(void) {
  // Don't enable display if it is already enabled
  // (register keeps the value and would enable it again the next time it's
  // disabled)
  if (!display_enabled()) {
    int ret = regulator_enable(disp_ldsw);
    if (ret != 0) {
      printk("Error %d: failed to enable display LDO\n", ret);
    }
  }
}

void disable_display(void) {
  if (display_enabled()) {
    int ret = regulator_disable(disp_ldsw);
    if (ret != 0) {
      printk("Error %d: failed to disable display LDO\n", ret);
    }
  }
}

void display_init(void) {
  lcd_clear_buffer();
  enable_display();
  k_msleep(50);
  init_i2c();

  int ret = lcd_command(init_sequence, sizeof(init_sequence));
  if (ret != 0) {
    printk("Error %d: failed to write to the display\n", ret);
  }
  k_msleep(50);  // Wait for display to turn on
  lcd_display();
}

void lcd_drawPixel(uint8_t x, uint8_t y, uint8_t color) {
  if (color == WHITE) {
    displayBuffer[(y / (DISPLAY_HEIGHT / 8))][x] |=
        (1 << (y % (DISPLAY_HEIGHT / 8)));
  } else {
    displayBuffer[(y / (DISPLAY_HEIGHT / 8))][x] &=
        ~(1 << (y % (DISPLAY_HEIGHT / 8)));
  }
}

void lcd_display_block(uint8_t x, uint8_t line, uint8_t width) {
  if (line > (DISPLAY_HEIGHT / 8 - 1) || x > DISPLAY_WIDTH - 1) {
    return;
  }
  if (x + width > DISPLAY_WIDTH) {  // no -1 here, x alone is width 1
    width = DISPLAY_WIDTH - x;
  }
  lcd_send_goto_xpix_y(x, line);
  lcd_data(&displayBuffer[line][x], width);
}

void lcd_drawLine(uint8_t x1, uint8_t y1, uint8_t x2, uint8_t y2,
                  uint8_t color) {
  if (x1 > DISPLAY_WIDTH - 1 || x2 > DISPLAY_WIDTH - 1 ||
      y1 > DISPLAY_HEIGHT - 1 || y2 > DISPLAY_HEIGHT - 1)
    return;
  int dx = abs((int)x2 - x1), sx = x1 < x2 ? 1 : -1;
  int dy = -abs((int)y2 - y1), sy = y1 < y2 ? 1 : -1;
  int err = dx + dy, e2; /* error value e_xy */

  while (1) {
    lcd_drawPixel(x1, y1, color);
    if (x1 == x2 && y1 == y2) break;
    e2 = 2 * err;
    if (e2 > dy) {
      err += dy;
      x1 += sx;
    } /* e_xy+e_x > 0 */
    if (e2 < dx) {
      err += dx;
      y1 += sy;
    } /* e_xy+e_y < 0 */
  }
}

void lcd_fillRect(uint8_t px1, uint8_t py1, uint8_t px2, uint8_t py2,
                  uint8_t color) {
  for (uint8_t i = 0; i <= (py2 - py1); i++) {
    lcd_drawLine(px1, py1 + i, px2, py1 + i, color);
  }
}

void lcd_fillTriangle(int16_t x1, int8_t y1, int16_t x2, int8_t y2, int16_t x3,
                      int8_t y3, uint8_t color) {
  // Negative and too large coords are allowed, only the visible part will
  // be drawn

  // calc bounds for increased performance (todo: is there a better way?)
  int16_t xmin = (x1 < x2 ? (x1 < x3 ? x1 : x3) : (x2 < x3 ? x2 : x3));
  if (xmin < 0) xmin = 0;
  int16_t xmax = (x1 > x2 ? (x1 > x3 ? x1 : x3) : (x2 > x3 ? x2 : x3));
  if (xmax > DISPLAY_WIDTH - 1) xmax = DISPLAY_WIDTH - 1;

  int8_t ymin = (y1 < y2 ? (y1 < y3 ? y1 : y3) : (y2 < y3 ? y2 : y3));
  if (ymin < 0) ymin = 0;
  int8_t ymax = (y1 > y2 ? (y1 > y3 ? y1 : y3) : (y2 > y3 ? y2 : y3));
  if (ymax > DISPLAY_HEIGHT - 1) ymax = DISPLAY_HEIGHT - 1;

  for (uint8_t x = xmin; x <= xmax; x++) {
    for (uint8_t y = ymin; y <= ymax; y++) {
      // point in triangle code from John Bananas on stackoverflow
      // https://stackoverflow.com/a/9755252/7089433
      int8_t p1x = x - x1;
      int8_t p1y = y - y1;
      uint8_t s12 = (x2 - x1) * p1y - (y2 - y1) * p1x > 0;
      if (((x3 - x1) * p1y - (y3 - y1) * p1x > 0) == s12) continue;
      if (((x3 - x2) * (y - y2) - (y3 - y2) * (x - x2) > 0) != s12) continue;
      lcd_drawPixel(x, y, color);
    }
  }
}

void lcd_fillCircleSimple(uint8_t center_x, uint8_t center_y, int16_t radius,
                          uint8_t color) {
  for (int16_t dx = -radius; dx <= radius; dx++) {
    for (int16_t dy = -radius; dy <= radius; dy++) {
      if (dx * dx + dy * dy < radius * radius) {
        if (center_x + dx >= DISPLAY_WIDTH || center_x + dx < 0 ||
            center_y + dy >= DISPLAY_HEIGHT || center_y + dy < 0)
          continue;
        lcd_drawPixel(center_x + dx, center_y + dy, color);
      }
    }
  }
}

void lcd_drawRect(uint8_t px1, uint8_t py1, uint8_t px2, uint8_t py2,
                  uint8_t color) {
  lcd_drawLine(px1, py1, px2, py1, color);
  lcd_drawLine(px2, py1, px2, py2, color);
  lcd_drawLine(px2, py2, px1, py2, color);
  lcd_drawLine(px1, py2, px1, py1, color);
}
```

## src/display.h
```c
#ifndef DISPLAY_H
#define DISPLAY_H

#include <stdbool.h>
#include <stdint.h>

#define DISPLAY_WIDTH 128
#define DISPLAY_HEIGHT 64

extern uint8_t displayBuffer[DISPLAY_HEIGHT / 8][DISPLAY_WIDTH];
#define WHITE 0x01
#define BLACK 0x00

void display_init(void);
void lcd_puts(const char* s);
void lcd_puts_invert(const char* s);
void lcd_gotoxy(uint8_t x, uint8_t y);
void lcd_goto_xpix_y(uint8_t x, uint8_t y);
void lcd_display(void);
void lcd_clear_buffer(void);
void enable_display(void);
void disable_display(void);
bool display_enabled(void);
void lcd_drawPixel(uint8_t x, uint8_t y, uint8_t color);
void lcd_display_block(uint8_t x, uint8_t line, uint8_t width);
void lcd_send_home_command();
void lcd_clrscr(void);

void lcd_drawLine(uint8_t x1, uint8_t y1, uint8_t x2, uint8_t y2,
                  uint8_t color);

void lcd_fillRect(uint8_t px1, uint8_t py1, uint8_t px2, uint8_t py2,
                  uint8_t color);

void lcd_fillTriangle(int16_t x1, int8_t y1, int16_t x2, int8_t y2, int16_t x3,
                      int8_t y3, uint8_t color);

void lcd_fillCircleSimple(uint8_t center_x, uint8_t center_y, int16_t radius,
                          uint8_t color);

void lcd_drawRect(uint8_t px1, uint8_t py1, uint8_t px2, uint8_t py2,
                  uint8_t color);
uint8_t lcd_check_buffer(uint8_t x, uint8_t y);

#endif  // DISPLAY_H
```
